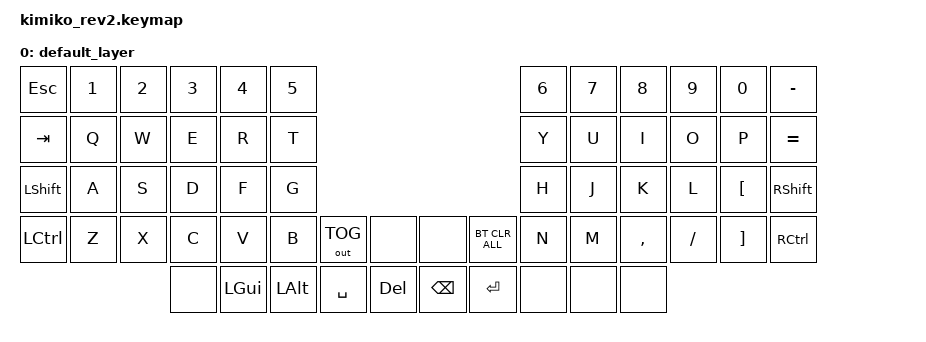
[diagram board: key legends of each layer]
#include <behaviors.dtsi>
#include <dt-bindings/zmk/keys.h>
#include <dt-bindings/zmk/bt.h>
#include <dt-bindings/zmk/outputs.h>

/ {
    keymap {
        compatible = "zmk,keymap";

        default_layer {
            bindings = <
    &kp ESC    &kp N1   &kp N2   &kp N3    &kp N4    &kp N5                                                        &kp N6    &kp N7    &kp N8    &kp N9    &kp N0    &kp MINUS
    &kp TAB    &kp Q    &kp W    &kp E     &kp R     &kp T                                                         &kp Y     &kp U     &kp I     &kp O     &kp P     &kp EQUAL
    &kp LSHIFT &kp A    &kp S    &kp D     &kp F     &kp G                                                         &kp H     &kp J     &kp K     &kp L     &kp LBKT  &kp RSHIFT
    &kp LCTRL  &kp Z    &kp X    &kp C     &kp V     &kp B    &out OUT_TOG &none      &none         &bt BT_CLR_ALL &kp N     &kp M     &kp COMMA &kp FSLH  &kp RBKT  &kp RCTRL
                                 &none     &kp LGUI  &kp LALT &kp  SPACE   &kp DEL    &kp BACKSPACE &kp RET        &none     &none     &none
            >;
        };
    };
    sensor-bindings = <&inc_dec_kp C_VOL_UP C_VOL_DN>;
};
